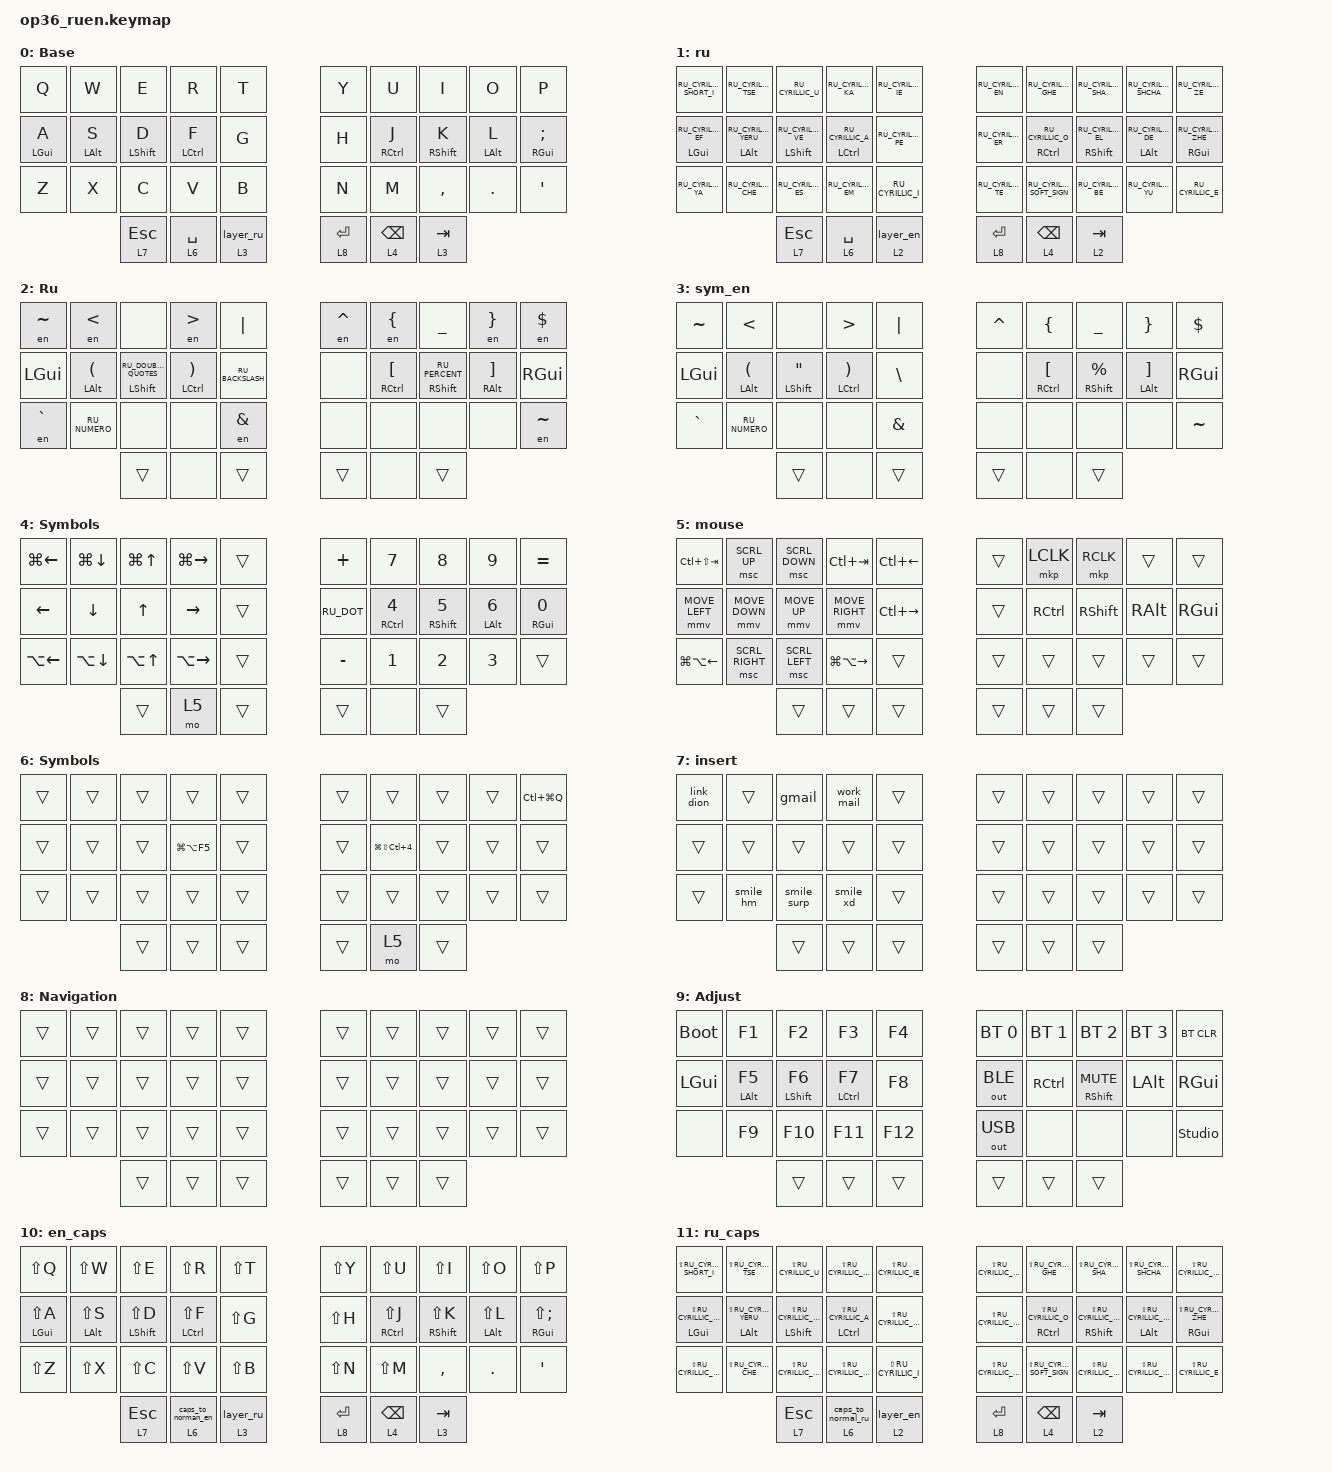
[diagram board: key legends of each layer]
#define ZMK_POINTING_DEFAULT_MOVE_VAL 2000  // default: 600
#define ZMK_POINTING_DEFAULT_SCRL_VAL 20    // default: 10

#include "keys_ru.h"
#include <behaviors.dtsi>
#include <dt-bindings/zmk/bt.h>
#include <dt-bindings/zmk/keys.h>
#include <dt-bindings/zmk/outputs.h>
#include <dt-bindings/zmk/pointing.h>

&mt {
    quick-tap-ms = <200>;
    flavor = "tap-preferred";
    require-prior-idle-ms = <125>;
};

/ {
    behaviors {
        hml: home_row_mod_left {
            compatible = "zmk,behavior-hold-tap";
            #binding-cells = <2>;
            flavor = "balanced";
            require-prior-idle-ms = <150>;
            tapping-term-ms = <280>;
            quick-tap-ms = <175>;
            bindings = <&kp>, <&kp>;

            hold-trigger-key-positions = <5 6 7 8 9 15 16 17 18 19 25 26 27 28 29 33 34 35>;
            hold-trigger-on-release;
        };

        hmr: home_row_mod_right {
            compatible = "zmk,behavior-hold-tap";
            #binding-cells = <2>;
            flavor = "balanced";
            require-prior-idle-ms = <150>;
            tapping-term-ms = <280>;
            quick-tap-ms = <175>;
            bindings = <&kp>, <&kp>;

            hold-trigger-key-positions = <0 1 2 3 4 10 11 12 13 14 20 21 22 23 24 30 31 32>;
            hold-trigger-on-release;
        };

        lang_ru: lang_ru {
            compatible = "zmk,behavior-hold-tap";
            #binding-cells = <2>;
            flavor = "balanced";
            require-prior-idle-ms = <150>;
            tapping-term-ms = <280>;
            quick-tap-ms = <175>;
            bindings = <&mo>, <&layer_ru>;

            hold-trigger-on-release;
            label = "LANG_RU";
        };

        lang_en: lang_en {
            compatible = "zmk,behavior-hold-tap";
            #binding-cells = <2>;
            flavor = "balanced";
            require-prior-idle-ms = <150>;
            tapping-term-ms = <280>;
            quick-tap-ms = <175>;
            bindings = <&mo>, <&layer_en>;

            hold-trigger-on-release;
            label = "LANG_EN";
        };

        hmr_ru: hmr_ru {
            compatible = "zmk,behavior-hold-tap";
            #binding-cells = <2>;
            flavor = "balanced";
            require-prior-idle-ms = <150>;
            tapping-term-ms = <280>;
            quick-tap-ms = <175>;
            bindings = <&kp>, <&en>;

            hold-trigger-key-positions = <0 1 2 3 4 10 11 12 13 14 20 21 22 23 24 30 31 32>;
            hold-trigger-on-release;
            label = "HMR_RU";
        };

        caps_to_en: caps_to_en {
            compatible = "zmk,behavior-hold-tap";
            label = "CAPS_TO_EN";
            bindings = <&mo>, <&caps_to_norman_en>;

            #binding-cells = <2>;
            tapping-term-ms = <200>;
        };

        caps_to_ru: caps_to_ru {
            compatible = "zmk,behavior-hold-tap";
            label = "CAPS_TO_RU";
            bindings = <&mo>, <&caps_to_normal_ru>;

            #binding-cells = <2>;
            tapping-term-ms = <200>;
        };
    };

    combos {
        compatible = "zmk,combos";

        kha {
            bindings = <&kp RU_CYRILLIC_HA>;
            key-positions = <22 23>;
            layers = <1>;
        };

        hrdsgn {
            bindings = <&kp RU_CYRILLIC_HARD_SIGN>;
            key-positions = <26 27>;
            layers = <1>;
        };

        sym_slash_ru {
            bindings = <&kp RU_SLASH>;
            key-positions = <13 14>;
            layers = <1>;
        };

        sym_slash_en {
            bindings = <&kp SLASH>;
            key-positions = <13 14>;
            layers = <0>;
        };

        sym_sign_en {
            bindings = <&kp AT_SIGN>;
            key-positions = <10 11>;
            layers = <0>;
        };

        sym_tire {
            bindings = <&kp MINUS>;
            key-positions = <11 12>;
        };

        sym_question_ru {
            bindings = <&kp RU_QUESTION>;
            key-positions = <12 13>;
            layers = <1>;
        };

        sym_question_en {
            bindings = <&kp QUESTION>;
            key-positions = <12 13>;
            layers = <0>;
        };

        sym_sneg {
            bindings = <&kp ASTRK>;
            key-positions = <22 23>;
        };

        sym_hash_ru {
            bindings = <&en HASH>;
            key-positions = <3 4>;
            layers = <1>;
        };

        sym_vosk {
            bindings = <&kp EXCL>;
            key-positions = <24 23>;
        };

        sym_dot_ru {
            bindings = <&kp RU_DOT>;
            key-positions = <15 16>;
            layers = <1>;
        };

        sym_dot_en {
            bindings = <&kp DOT>;
            key-positions = <15 16>;
            layers = <0>;
        };

        sym_com_ru {
            bindings = <&com_and_space_ru>;
            key-positions = <16 17>;
            layers = <1>;
        };

        sym_com_en {
            bindings = <&com_and_space_en>;
            key-positions = <16 17>;
            layers = <0>;
        };

        sym_sign_ru {
            bindings = <&en AT_SIGN>;
            key-positions = <10 11>;
            layers = <1>;
        };

        sym_und {
            bindings = <&kp UNDER>;
            key-positions = <21 22>;
        };

        sym_colon_en {
            bindings = <&kp COLON>;
            key-positions = <6 7>;
            layers = <0>;
        };

        sym_colon_ru {
            bindings = <&kp RU_COLON>;
            key-positions = <6 7>;
            layers = <1>;
        };

        sym_semi_en {
            bindings = <&kp SEMI>;
            key-positions = <7 8>;
            layers = <0>;
        };

        sym_semi_ru {
            bindings = <&kp RU_SEMI>;
            key-positions = <7 8>;
            layers = <1>;
        };

        mouse_pointer {
            bindings = <&mouse_pointer>;
            key-positions = <10 11 12 13>;
        };

        sym_hash_en {
            bindings = <&kp HASH>;
            key-positions = <3 4>;
            layers = <0>;
        };

        caps_en {
            bindings = <&to 10>;
            key-positions = <12 17>;
            layers = <0>;
        };

        caps_ru {
            bindings = <&to 11>;
            key-positions = <12 17>;
            layers = <1>;
        };
    };

    macros {
        to_ru: to_ru {
            compatible = "zmk,behavior-macro";
            #binding-cells = <0>;
            bindings = <&kp LA(LG(F2))>;
            label = "TO_RU";
        };

        to_en: to_en {
            compatible = "zmk,behavior-macro";
            #binding-cells = <0>;
            bindings = <&kp LA(LG(F1))>;
            label = "TO_EN";
        };

        layer_en: layer_en {
            compatible = "zmk,behavior-macro";
            #binding-cells = <0>;
            bindings = <&to 0 &to_en>;
            label = "LAYER_EN";
        };

        layer_ru: layer_ru {
            compatible = "zmk,behavior-macro";
            #binding-cells = <0>;
            bindings = <&to 1 &to_ru>;
            label = "LAYER_RU";
        };

        en: en {
            compatible = "zmk,behavior-macro-one-param";
            #binding-cells = <1>;
            bindings =
                <&to_en &macro_param_1to1 &kp MACRO_PLACEHOLDER>,
                <&macro_wait_time 10>,
                <&to_ru>,
                <&macro_wait_time 10>;

            label = "EN";
        };

        com_and_space_en: com_and_space {
            compatible = "zmk,behavior-macro";
            #binding-cells = <0>;
            bindings = <&kp COMMA &kp SPACE>;
            label = "COM_AND_SPACE";
        };

        com_and_space_ru: com_and_space_ru {
            compatible = "zmk,behavior-macro";
            #binding-cells = <0>;
            bindings = <&kp RU_COMMA &kp SPACE>;
            label = "COM_AND_SPACE_RU";
        };

        mouse_pointer: mouse_pointer {
            compatible = "zmk,behavior-macro";
            #binding-cells = <0>;
            bindings = <&layer_en &kp LG(LA(F4))>;
            label = "MOUSE_POINTER";
        };

        gmail: my_gmail {
            compatible = "zmk,behavior-macro";
            #binding-cells = <0>;
            bindings = <&layer_en &kp U &kp P &kp A &kp G &kp G &kp E &kp AT_SIGN &kp G &kp M &kp A &kp I &kp L &kp DOT &kp C &kp O &kp M>;
            label = "MY_GMAIL";
        };

        work_mail: my_work_mail {
            compatible = "zmk,behavior-macro";
            #binding-cells = <0>;
            bindings =
                <&layer_en>,
                <&macro_wait_time 10>,
                <&kp M &kp S &kp T &kp R &kp U &kp C &kp H &kp K &kp O &kp V &kp AT_SIGN &kp T &kp N1 &kp MINUS &kp C &kp O &kp N &kp S &kp U &kp L &kp T &kp I &kp N &kp G &kp DOT &kp R &kp U>;

            label = "MY_WORK_MAIL";
        };

        link_dion: link_dion {
            compatible = "zmk,behavior-macro";
            #binding-cells = <0>;
            bindings = <&layer_en &kp H &kp T &kp T &kp P &kp S &kp COLON &kp FSLH &kp FSLH &kp D &kp I &kp O &kp N &kp DOT &kp V &kp C &kp FSLH &kp E &kp V &kp E &kp N &kp T &kp FSLH &kp M &kp S &kp T &kp R &kp U &kp C &kp H &kp K &kp O &kp V>;
            label = "LINK_DION";
        };

        smile_xd: smile {
            compatible = "zmk,behavior-macro";
            #binding-cells = <0>;
            bindings = <&en COLON &kp LS(D) &layer_en>;
            label = "SMILE";
        };

        smile_surp: smile_surp {
            compatible = "zmk,behavior-macro";
            #binding-cells = <0>;
            bindings = <&kp N0 &en UNDER &en O>;
            label = "SMILE_SURP";
        };

        smile_hm: smile_hm {
            compatible = "zmk,behavior-macro";
            #binding-cells = <0>;
            bindings = <&en MINUS &en UNDER &en MINUS>;
            label = "SMILE_HM";
        };

        caps_to_norman_en: caps_to_norman_en {
            compatible = "zmk,behavior-macro";
            #binding-cells = <0>;
            bindings = <&kp SPACE &layer_en>;
            label = "CAPS_TO_NORMAN_EN";
        };

        caps_to_normal_ru: caps_to_normal_ru {
            compatible = "zmk,behavior-macro";
            #binding-cells = <0>;
            bindings = <&kp SPACE &layer_ru>;
            label = "CAPS_TO_NORMAL_RU";
        };
    };

    keymap {
        compatible = "zmk,keymap";

        en {
            bindings = <
  &kp Q        &kp W        &kp E         &kp R         &kp T                                     &kp Y            &kp U         &kp I         &kp O        &kp P
  &hml LGUI A  &hml LALT S  &hml LSHFT D  &hml LCTRL F  &kp G                                     &kp H            &hmr RCTRL J  &hmr RSHFT K  &hmr LALT L  &hmr RGUI SEMICOLON
  &kp Z        &kp X        &kp C         &kp V         &kp B                                     &kp N            &kp M         &kp COMMA     &kp DOT      &kp SQT
                                          &lt 7 ESC     &lt 6 SPACE  &lang_ru 3 0    &lt 8 ENTER  &lt 4 BACKSPACE  &lt 3 TAB
            >;

            display-name = "Base";
        };

        ru {
            bindings = <
  &kp RU_CYRILLIC_SHORT_I   &kp RU_CYRILLIC_TSE         &kp RU_CYRILLIC_U          &kp RU_CYRILLIC_KA        &kp RU_CYRILLIC_IE                               &kp RU_CYRILLIC_EN  &kp RU_CYRILLIC_GHE        &kp RU_CYRILLIC_SHA        &kp RU_CYRILLIC_SHCHA     &kp RU_CYRILLIC_ZE
  &hml LGUI RU_CYRILLIC_EF  &hml LALT RU_CYRILLIC_YERU  &hml LSHFT RU_CYRILLIC_VE  &hml LCTRL RU_CYRILLIC_A  &kp RU_CYRILLIC_PE                               &kp RU_CYRILLIC_ER  &hmr RCTRL RU_CYRILLIC_O   &hmr RSHFT RU_CYRILLIC_EL  &hmr LALT RU_CYRILLIC_DE  &hmr RGUI RU_CYRILLIC_ZHE
  &kp RU_CYRILLIC_YA        &kp RU_CYRILLIC_CHE         &kp RU_CYRILLIC_ES         &kp RU_CYRILLIC_EM        &kp RU_CYRILLIC_I                                &kp RU_CYRILLIC_TE  &kp RU_CYRILLIC_SOFT_SIGN  &kp RU_CYRILLIC_BE         &kp RU_CYRILLIC_YU        &kp RU_CYRILLIC_E
                                                                                   &lt 7 ESC                 &lt 6 SPACE         &lang_en 2 0    &lt 8 ENTER  &lt 4 BACKSPACE     &lt 2 TAB
            >;
        };

        sym_ru {
            bindings = <
  &en TILDE  &en LT          &none                        &en GT           &kp PIPE                            &en CARET  &en LEFT_BRACE                      &kp UNDER                    &en RIGHT_BRACE                  &en DLLR
  &kp LGUI   &hml LALT LPAR  &hml LSHFT RU_DOUBLE_QUOTES  &hml LCTRL RPAR  &kp RU_BACKSLASH                    &none      &hmr_ru RIGHT_CONTROL LEFT_BRACKET  &hmr RIGHT_SHIFT RU_PERCENT  &hmr_ru RIGHT_ALT RIGHT_BRACKET  &kp RIGHT_GUI
  &en GRAVE  &kp RU_NUMERO   &none                        &none            &en AMPS                            &none      &none                               &none                        &none                            &en TILDE
                                                          &trans           &none             &trans    &trans  &none      &trans
            >;

            display-name = "Ru";
        };

        sym_en {
            bindings = <
  &kp TILDE  &kp LT          &none           &kp GT           &kp PIPE                         &kp CARET  &kp LEFT_BRACE           &kp UNDER           &kp RIGHT_BRACE          &kp DLLR
  &kp LGUI   &hml LALT LPAR  &hml LSHFT DQT  &hml LCTRL RPAR  &kp BACKSLASH                    &none      &hmr RCTRL LEFT_BRACKET  &hmr RSHFT PERCENT  &hmr LALT RIGHT_BRACKET  &kp RGUI
  &kp GRAVE  &kp RU_NUMERO   &none           &none            &kp AMPS                         &none      &none                    &none               &none                    &kp TILDE
                                             &trans           &none          &trans    &trans  &none      &trans
            >;
        };

        nav {
            bindings = <
  &kp LG(LEFT_ARROW)  &kp LG(DOWN_ARROW)  &kp LG(UP_ARROW)  &kp LG(RIGHT_ARROW)  &trans                    &kp PLUS    &kp NUMBER_7         &kp NUMBER_8         &kp NUMBER_9        &kp EQUAL
  &kp LEFT_ARROW      &kp DOWN_ARROW      &kp UP_ARROW      &kp RIGHT_ARROW      &trans                    &kp RU_DOT  &hmr RCTRL NUMBER_4  &hmr RSHFT NUMBER_5  &hmr LALT NUMBER_6  &hmr RGUI NUMBER_0
  &kp LA(LEFT_ARROW)  &kp LA(DOWN_ARROW)  &kp LA(UP_ARROW)  &kp LA(RIGHT_ARROW)  &trans                    &kp MINUS   &kp NUMBER_1         &kp NUMBER_2         &kp NUMBER_3        &trans
                                                            &trans               &mo 5   &trans    &trans  &none       &trans
            >;

            display-name = "Symbols";
        };

        mouse {
            bindings = <
  &kp LC(LS(TAB))         &msc SCRL_UP     &msc SCRL_DOWN  &kp LC(TAB)              &kp LC(LEFT_ARROW)                     &trans  &mkp LCLK          &mkp RCLK        &trans         &trans
  &mmv MOVE_LEFT          &mmv MOVE_DOWN   &mmv MOVE_UP    &mmv MOVE_RIGHT          &kp LC(RIGHT_ARROW)                    &trans  &kp RIGHT_CONTROL  &kp RIGHT_SHIFT  &kp RIGHT_ALT  &kp RIGHT_GUI
  &kp LG(LA(LEFT_ARROW))  &msc SCRL_RIGHT  &msc SCRL_LEFT  &kp LG(LA(RIGHT_ARROW))  &trans                                 &trans  &trans             &trans           &trans         &trans
                                                           &trans                   &trans               &trans    &trans  &trans  &trans
            >;
        };

        hot {
            bindings = <
  &trans  &trans  &trans  &trans          &trans                    &trans  &trans                    &trans  &trans  &kp LC(LG(Q))
  &trans  &trans  &trans  &kp LG(LA(F5))  &trans                    &trans  &kp LG(LS(LC(NUMBER_4)))  &trans  &trans  &trans
  &trans  &trans  &trans  &trans          &trans                    &trans  &trans                    &trans  &trans  &trans
                          &trans          &trans  &trans    &trans  &mo 5   &trans
            >;

            display-name = "Symbols";
        };

        insert {
            bindings = <
  &link_dion  &trans     &gmail       &work_mail  &trans                    &trans  &trans  &trans  &trans  &trans
  &trans      &trans     &trans       &trans      &trans                    &trans  &trans  &trans  &trans  &trans
  &trans      &smile_hm  &smile_surp  &smile_xd   &trans                    &trans  &trans  &trans  &trans  &trans
                                      &trans      &trans  &trans    &trans  &trans  &trans
            >;
        };

        layer_9 {
            bindings = <
  &trans  &trans  &trans  &trans  &trans                    &trans  &trans  &trans  &trans  &trans
  &trans  &trans  &trans  &trans  &trans                    &trans  &trans  &trans  &trans  &trans
  &trans  &trans  &trans  &trans  &trans                    &trans  &trans  &trans  &trans  &trans
                          &trans  &trans  &trans    &trans  &trans  &trans
            >;

            display-name = "Navigation";
        };

        adj {
            bindings = <
  &bootloader  &kp F1        &kp F2         &kp F3         &kp F4                     &bt BT_SEL 0  &bt BT_SEL 1  &bt BT_SEL 2       &bt BT_SEL 3  &bt BT_CLR
  &kp LGUI     &hml LALT F5  &hml LSHFT F6  &hml LCTRL F7  &kp F8                     &out OUT_BLE  &kp RCTRL     &hmr RSHFT C_MUTE  &kp LALT      &kp RGUI
  &none        &kp F9        &kp F10        &kp F11        &kp F12                    &out OUT_USB  &none         &none              &none         &studio_unlock
                                            &trans         &trans   &trans    &trans  &trans        &trans
            >;

            display-name = "Adjust";
        };

        en_caps {
            bindings = <
  &kp LS(Q)        &kp LS(W)        &kp LS(E)         &kp LS(R)         &kp LS(T)                                     &kp LS(Y)        &kp LS(U)         &kp LS(I)         &kp LS(O)        &kp LS(P)
  &hml LGUI LS(A)  &hml LALT LS(S)  &hml LSHFT LS(D)  &hml LCTRL LS(F)  &kp LS(G)                                     &kp LS(H)        &hmr RCTRL LS(J)  &hmr RSHFT LS(K)  &hmr LALT LS(L)  &hmr RGUI LS(SEMICOLON)
  &kp LS(Z)        &kp LS(X)        &kp LS(C)         &kp LS(V)         &kp LS(B)                                     &kp LS(N)        &kp LS(M)         &kp COMMA         &kp DOT          &kp SQT
                                                      &lt 7 ESC         &caps_to_en 6 0  &lang_ru 3 0    &lt 8 ENTER  &lt 4 BACKSPACE  &lt 3 TAB
            >;
        };

        ru_caps {
            bindings = <
  &kp LS(RU_CYRILLIC_SHORT_I)   &kp LS(RU_CYRILLIC_TSE)         &kp LS(RU_CYRILLIC_U)          &kp LS(RU_CYRILLIC_KA)        &kp LS(RU_CYRILLIC_IE)                               &kp LS(RU_CYRILLIC_EN)  &kp LS(RU_CYRILLIC_GHE)        &kp LS(RU_CYRILLIC_SHA)        &kp LS(RU_CYRILLIC_SHCHA)     &kp LS(RU_CYRILLIC_ZE)
  &hml LGUI LS(RU_CYRILLIC_EF)  &hml LALT LS(RU_CYRILLIC_YERU)  &hml LSHFT LS(RU_CYRILLIC_VE)  &hml LCTRL LS(RU_CYRILLIC_A)  &kp LS(RU_CYRILLIC_PE)                               &kp LS(RU_CYRILLIC_ER)  &hmr RCTRL LS(RU_CYRILLIC_O)   &hmr RSHFT LS(RU_CYRILLIC_EL)  &hmr LALT LS(RU_CYRILLIC_DE)  &hmr RGUI LS(RU_CYRILLIC_ZHE)
  &kp LS(RU_CYRILLIC_YA)        &kp LS(RU_CYRILLIC_CHE)         &kp LS(RU_CYRILLIC_ES)         &kp LS(RU_CYRILLIC_EM)        &kp LS(RU_CYRILLIC_I)                                &kp LS(RU_CYRILLIC_TE)  &kp LS(RU_CYRILLIC_SOFT_SIGN)  &kp LS(RU_CYRILLIC_BE)         &kp LS(RU_CYRILLIC_YU)        &kp LS(RU_CYRILLIC_E)
                                                                                               &lt 7 ESC                     &caps_to_ru 6 0         &lang_en 2 0    &lt 8 ENTER  &lt 4 BACKSPACE         &lt 2 TAB
            >;
        };
    };
};
